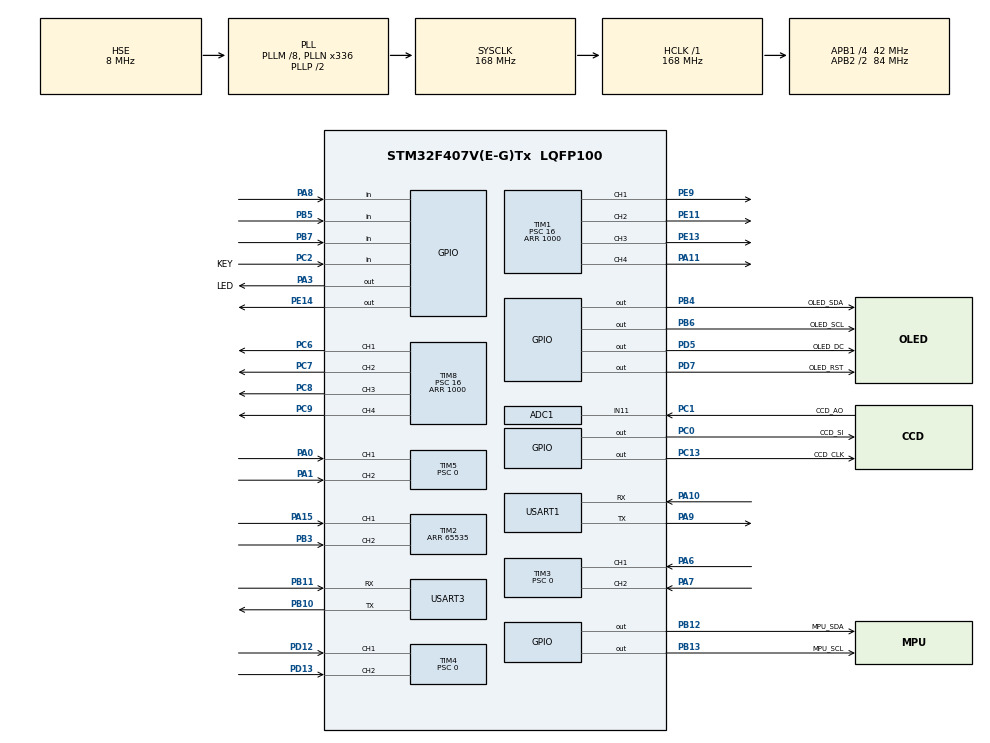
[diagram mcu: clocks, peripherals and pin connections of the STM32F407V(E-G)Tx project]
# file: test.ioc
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ADC1.AutoInjectedConv=DISABLE
ADC1.Channel-0\#ChannelRegularConversion=ADC_CHANNEL_11
ADC1.InjectedDiscontinuousConvMode=DISABLE
ADC1.NbrOfConversionFlag=1
ADC1.Rank-0\#ChannelRegularConversion=1
ADC1.SamplingTime-0\#ChannelRegularConversion=ADC_SAMPLETIME_3CYCLES
ADC1.master=1
FREERTOS.BinarySemaphores01=HandshakeSignalFirst;HandshakeSignalThird
FREERTOS.Tasks01=defaultTask,-3,256,StartDefaultTask,Default;WIFI,0,512,StartWIFI,Default;Start,3,256,StartTask,Default;Status,-1,256,StartStatus,Default;Run,-2,512,StartRun,Default;Signal,2,256,StartSignal,Default
FREERTOS.Timers01=PIDControl,CallbackControl,osTimerPeriodic,Default
FREERTOS.configMINIMAL_STACK_SIZE=256
FREERTOS.configTOTAL_HEAP_SIZE=50000
FREERTOS.configUSE_IDLE_HOOK=1
FREERTOS.configUSE_TIMERS=1
Mcu.Family=STM32F4
Mcu.Name=STM32F407V(E-G)Tx
Mcu.Package=LQFP100
NVIC.PriorityGroup=NVIC_PRIORITYGROUP_4
NVIC.TIM6_DAC_IRQn=true\:0\:0\:false\:false\:true\:false
NVIC.TimeBase=TIM6_DAC_IRQn
NVIC.TimeBaseIP=TIM6
NVIC.USART1_IRQn=true\:5\:0\:false\:false\:true\:true
NVIC.USART3_IRQn=true\:5\:0\:false\:false\:true\:true
PA0-WKUP.Signal=S_TIM5_CH1
PA1.Signal=S_TIM5_CH2
PA10.Mode=Asynchronous
PA10.Signal=USART1_RX
PA11.Signal=S_TIM1_CH4
PA13.Mode=Serial_Wire
PA13.Signal=SYS_JTMS-SWDIO
PA14.Mode=Serial_Wire
PA14.Signal=SYS_JTCK-SWCLK
PA15.Signal=S_TIM2_CH1_ETR
PA3.GPIO_Label=LED
PA3.Signal=GPIO_Output
PA6.Signal=S_TIM3_CH1
PA7.Signal=S_TIM3_CH2
PA8.Signal=GPIO_Input
PA9.Mode=Asynchronous
PA9.Signal=USART1_TX
PB10.Mode=Asynchronous
PB10.Signal=USART3_TX
PB11.Mode=Asynchronous
PB11.Signal=USART3_RX
PB12.GPIO_Label=MPU_SDA
PB12.Signal=GPIO_Output
PB13.GPIO_Label=MPU_SCL
PB13.Signal=GPIO_Output
PB3.Signal=S_TIM2_CH2
PB4.GPIO_Label=OLED_SDA
PB4.Signal=GPIO_Output
PB5.Signal=GPIO_Input
PB6.GPIO_Label=OLED_SCL
PB6.Signal=GPIO_Output
PB7.Signal=GPIO_Input
PC0.GPIO_Label=CCD_SI
PC0.Signal=GPIO_Output
PC1.GPIO_Label=CCD_AO
PC1.Signal=ADCx_IN11
PC13-ANTI_TAMP.GPIO_Label=CCD_CLK
PC13-ANTI_TAMP.Signal=GPIO_Output
PC2.GPIO_Label=KEY
PC2.GPIO_PuPd=GPIO_PULLUP
PC2.Signal=GPIO_Input
PC6.Signal=S_TIM8_CH1
PC7.Signal=S_TIM8_CH2
PC8.Signal=S_TIM8_CH3
PC9.Signal=S_TIM8_CH4
PD12.Signal=S_TIM4_CH1
PD13.Signal=S_TIM4_CH2
PD5.GPIO_Label=OLED_DC
PD5.Signal=GPIO_Output
PD7.GPIO_Label=OLED_RST
PD7.Signal=GPIO_Output
PE11.Signal=S_TIM1_CH2
PE13.Signal=S_TIM1_CH3
PE14.Signal=GPIO_Output
PE9.Signal=S_TIM1_CH1
PH0-OSC_IN.Mode=HSE-External-Oscillator
PH0-OSC_IN.Signal=RCC_OSC_IN
PH1-OSC_OUT.Mode=HSE-External-Oscillator
PH1-OSC_OUT.Signal=RCC_OSC_OUT
ProjectManager.HeapSize=0x200
ProjectManager.StackSize=0x400
ProjectManager.TargetToolchain=MDK-ARM V5
RCC.48MHZClocksFreq_Value=84000000
RCC.AHBFreq_Value=168000000
RCC.APB1CLKDivider=RCC_HCLK_DIV4
RCC.APB1Freq_Value=42000000
RCC.APB1TimFreq_Value=84000000
RCC.APB2CLKDivider=RCC_HCLK_DIV2
RCC.APB2Freq_Value=84000000
RCC.APB2TimFreq_Value=168000000
RCC.ClockTypeHCLK=RCC_CLOCKTYPE_HCLK
RCC.ClockTypePCLK1=RCC_CLOCKTYPE_PCLK1
RCC.ClockTypePCLK2=RCC_CLOCKTYPE_PCLK2
RCC.ClockTypeSysClk=RCC_CLOCKTYPE_SYSCLK
RCC.CortexFreq_Value=168000000
RCC.EnableExtClockForI2S=false
RCC.EnableHSE=true
RCC.EnableHSERTCDevisor=false
RCC.EnableLSE=false
RCC.EnableLSERTC=false
RCC.ExtClockEnable=false
RCC.HCLKFreq_Value=168000000
RCC.HSEState=RCC_HSE_ON
RCC.HSE_VALUE=8000000
RCC.HSIState=RCC_HSI_OFF
RCC.HSI_VALUE=16000000
RCC.I2SEnable=false
RCC.IWDGEnable=false
RCC.LSE_VALUE=32768
RCC.LSIState=RCC_LSI_OFF
RCC.MCO1OutPutEnable=false
RCC.MCO2OutPutEnable=false
RCC.OscillatorTypeHSE=RCC_OSCILLATORTYPE_HSE
RCC.PLLM=8
RCC.PLLN=336
RCC.PLLSource=RCC_PLLSOURCE_HSE
RCC.PLLSourceVirtual=RCC_PLLSOURCE_HSE
RCC.PLLState=RCC_PLL_ON
RCC.RNGEnable=false
RCC.RTCEnable=false
RCC.SDIOEnable=false
RCC.SYSCLKFreq_VALUE=168000000
RCC.SYSCLKSource=RCC_SYSCLKSOURCE_PLLCLK
RCC.USBFSEnable=false
RCC.USBHSEnable=false
RCC.VCOOutputFreq_Value=336000000
SH.ADCx_IN11.0=ADC1_IN11,IN11
SH.S_TIM1_CH1.0=TIM1_CH1,PWM Generation1 CH1
SH.S_TIM1_CH2.0=TIM1_CH2,PWM Generation2 CH2
SH.S_TIM1_CH3.0=TIM1_CH3,PWM Generation3 CH3
SH.S_TIM1_CH4.0=TIM1_CH4,PWM Generation4 CH4
SH.S_TIM2_CH1_ETR.0=TIM2_CH1,Encoder_Interface
SH.S_TIM2_CH2.0=TIM2_CH2,Encoder_Interface
SH.S_TIM3_CH1.0=TIM3_CH1,Encoder_Interface
SH.S_TIM3_CH2.0=TIM3_CH2,Encoder_Interface
SH.S_TIM4_CH1.0=TIM4_CH1,Encoder_Interface
SH.S_TIM4_CH2.0=TIM4_CH2,Encoder_Interface
SH.S_TIM5_CH1.0=TIM5_CH1,Encoder_Interface
SH.S_TIM5_CH2.0=TIM5_CH2,Encoder_Interface
SH.S_TIM8_CH1.0=TIM8_CH1,PWM Generation1 CH1
SH.S_TIM8_CH2.0=TIM8_CH2,PWM Generation2 CH2
SH.S_TIM8_CH3.0=TIM8_CH3,PWM Generation3 CH3
SH.S_TIM8_CH4.0=TIM8_CH4,PWM Generation4 CH4
TIM1.Channel-PWM\ Generation1\ CH1=TIM_CHANNEL_1
TIM1.Channel-PWM\ Generation2\ CH2=TIM_CHANNEL_2
TIM1.Channel-PWM\ Generation3\ CH3=TIM_CHANNEL_3
TIM1.Channel-PWM\ Generation4\ CH4=TIM_CHANNEL_4
TIM1.OCNIdleState_1=TIM_OCNIDLESTATE_RESET
TIM1.OCNIdleState_2=TIM_OCNIDLESTATE_RESET
TIM1.OCNIdleState_3=TIM_OCNIDLESTATE_RESET
TIM1.OCNIdleState_4=TIM_OCNIDLESTATE_RESET
TIM1.OCNPolarity_1=TIM_OCNPOLARITY_HIGH
TIM1.OCNPolarity_2=TIM_OCNPOLARITY_HIGH
TIM1.OCNPolarity_3=TIM_OCNPOLARITY_HIGH
TIM1.Period=1000
TIM1.Prescaler=16
TIM2.Period=65535
TIM3.EncoderMode=TIM_ENCODERMODE_TI12
TIM3.Period=65535
TIM3.Prescaler=0
TIM4.EncoderMode=TIM_ENCODERMODE_TI12
TIM4.Period=65535
TIM4.Prescaler=0
TIM5.EncoderMode=TIM_ENCODERMODE_TI12
TIM5.Period=65535
TIM5.Prescaler=0
TIM8.Channel-PWM\ Generation1\ CH1=TIM_CHANNEL_1
TIM8.Channel-PWM\ Generation2\ CH2=TIM_CHANNEL_2
TIM8.Channel-PWM\ Generation3\ CH3=TIM_CHANNEL_3
TIM8.Channel-PWM\ Generation4\ CH4=TIM_CHANNEL_4
TIM8.OCNIdleState_1=TIM_OCNIDLESTATE_RESET
TIM8.OCNIdleState_2=TIM_OCNIDLESTATE_RESET
TIM8.OCNIdleState_3=TIM_OCNIDLESTATE_RESET
TIM8.OCNIdleState_4=TIM_OCNIDLESTATE_RESET
TIM8.OCNPolarity_1=TIM_OCNPOLARITY_HIGH
TIM8.OCNPolarity_2=TIM_OCNPOLARITY_HIGH
TIM8.OCNPolarity_3=TIM_OCNPOLARITY_HIGH
TIM8.Period=1000
TIM8.Prescaler=16
USART1.HwFlowCtl-Asynchronous=UART_HWCONTROL_NONE
USART1.VirtualMode=VM_ASYNC
USART3.HwFlowCtl-Asynchronous=UART_HWCONTROL_NONE
USART3.VirtualMode=VM_ASYNC
VP_FREERTOS_VS_ENABLE.Mode=Enabled
VP_SYS_VS_tim6.Mode=TIM6
board=test

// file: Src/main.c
/**
  ******************************************************************************
  * File Name          : main.c
  * Description        : Main program body
  ******************************************************************************
  *
  * COPYRIGHT(c) 2016 STMicroelectronics
  *
  * Redistribution and use in source and binary forms, with or without modification,
  * are permitted provided that the following conditions are met:
  *   1. Redistributions of source code must retain the above copyright notice,
  *      this list of conditions and the following disclaimer.
  *   2. Redistributions in binary form must reproduce the above copyright notice,
  *      this list of conditions and the following disclaimer in the documentation
  *      and/or other materials provided with the distribution.
  *   3. Neither the name of STMicroelectronics nor the names of its contributors
  *      may be used to endorse or promote products derived from this software
  *      without specific prior written permission.
  *
  * THIS SOFTWARE IS PROVIDED BY THE COPYRIGHT HOLDERS AND CONTRIBUTORS "AS IS"
  * AND ANY EXPRESS OR IMPLIED WARRANTIES, INCLUDING, BUT NOT LIMITED TO, THE
  * IMPLIED WARRANTIES OF MERCHANTABILITY AND FITNESS FOR A PARTICULAR PURPOSE ARE
  * DISCLAIMED. IN NO EVENT SHALL THE COPYRIGHT HOLDER OR CONTRIBUTORS BE LIABLE
  * FOR ANY DIRECT, INDIRECT, INCIDENTAL, SPECIAL, EXEMPLARY, OR CONSEQUENTIAL
  * DAMAGES (INCLUDING, BUT NOT LIMITED TO, PROCUREMENT OF SUBSTITUTE GOODS OR
  * SERVICES; LOSS OF USE, DATA, OR PROFITS; OR BUSINESS INTERRUPTION) HOWEVER
  * CAUSED AND ON ANY THEORY OF LIABILITY, WHETHER IN CONTRACT, STRICT LIABILITY,
  * OR TORT (INCLUDING NEGLIGENCE OR OTHERWISE) ARISING IN ANY WAY OUT OF THE USE
  * OF THIS SOFTWARE, EVEN IF ADVISED OF THE POSSIBILITY OF SUCH DAMAGE.
  *
  ******************************************************************************
  */
#include "stm32f4xx_hal.h"
#include "cmsis_os.h"

/* USER CODE BEGIN Includes */
#include "BlueTooth.h"
#include "oled.h"
#include "mpu6050.h"
#include "inv_mpu.h"
#include "inv_mpu_dmp_motion_driver.h"
#include "ccd.h"
#include "Control.h"
#include "Motor.h"
#include "wifi.h"
#include "Encoder.h"
#include "pid.h"
#include <arm_math.h>
/* USER CODE END Includes */

ADC_HandleTypeDef hadc1;

TIM_HandleTypeDef htim1;
TIM_HandleTypeDef htim2;
TIM_HandleTypeDef htim3;
TIM_HandleTypeDef htim4;
TIM_HandleTypeDef htim5;
TIM_HandleTypeDef htim8;

UART_HandleTypeDef huart1;
UART_HandleTypeDef huart3;

osThreadId defaultTaskHandle;
osThreadId WIFIHandle;
osThreadId StartHandle;
osThreadId StatusHandle;
osThreadId RunHandle;
osThreadId SignalHandle;
osTimerId PIDControlHandle;
osSemaphoreId HandshakeSignalFirstHandle;
osSemaphoreId HandshakeSignalThirdHandle;

/* USER CODE BEGIN PV */
/* Private variables ---------------------------------------------------------*/
volatile  unsigned int OSIdleCtr;    /* 空闲计数器  */
unsigned int OSIdleCtrMax;             /* 一秒最大计数值    */
unsigned int OSIdleCtrRun;             /* 运行时一秒计数值  */
float     OSCPUUsage;               /* CPU占用率  */
float FreeHeapSpace;     //空闲内存空间

float pitch, roll, yaw;     //欧拉角
short aacx, aacy, aacz;     //加速度传感器原始数据
short gyrox, gyroy, gyroz;  //陀螺仪原始数据

uint8_t usart1_temp;        //USART1临时接收
uint8_t usart3_temp;        //USART3临时接收

uint8_t HandshakeSignalFirst = 0xf0;//与扫描单片机一次握手信号
uint8_t HandshakeSignalSecond = 0x01;//与扫描单片机二次握手信号
uint8_t HandshakeSignalThird = 0x0f;//与扫描单片机三次握手信号

uint8_t HandshakeSignalFirstSignal = 0;//与扫描单片机一次握手完成标志信号
uint8_t HandshakeSignalThirdSignal = 0;//与扫描单片机三次握手完成标志信号

uint8_t MotorFlag = 0;     //小车启动信号

int16_t MotorSpeed1;//右前编码器速度  正转负数，倒转正数
int16_t MotorSpeed2;//左后编码器速度  正转负数，倒转正数
int16_t MotorSpeed3;//左前编码器速度  正转正数，倒转负数
int16_t MotorSpeed4;//右后编码器速度  正转负数，倒转正数

PidTypeDef RFMotorPID;//右前轮PID
PidTypeDef LBMotorPID;//左后轮PID
PidTypeDef LFMotorPID;//左前轮PID
PidTypeDef RBMotorPID;//右后轮PID
PidTypeDef YawPID;    //角度PID

int32_t UpperSetSpeed = 20;//设定速度
float UpperSetYaw = 0.0; //设定角度
int32_t LeftForwardSpeed;//左前轮改变速度
int32_t RightForwardSpeed;//右前轮改变速度
uint8_t Judge[4] = {0}; //车库障碍判断
/* USER CODE END PV */

void SystemClock_Config(void);
void Error_Handler(void);
static void MX_GPIO_Init(void);
static void MX_TIM2_Init(void);
static void MX_TIM3_Init(void);
static void MX_TIM4_Init(void);
static void MX_TIM5_Init(void);
static void MX_USART1_UART_Init(void);
static void MX_TIM1_Init(void);
static void MX_TIM8_Init(void);
static void MX_USART3_UART_Init(void);
static void MX_ADC1_Init(void);
void StartDefaultTask(void const * argument);
void StartWIFI(void const * argument);
void StartTask(void const * argument);
void StartStatus(void const * argument);
void StartRun(void const * argument);
void StartSignal(void const * argument);
void CallbackControl(void const * argument);

void HAL_TIM_MspPostInit(TIM_HandleTypeDef *htim);

/* USER CODE BEGIN PFP */
/* Private function prototypes -----------------------------------------------*/

/* USER CODE END PFP */

/* USER CODE BEGIN 0 */
#include "stdio.h"
#ifdef __GNUC__
#define PUTCHAR_PROTOTYPE int __io_putchar(int ch)
#else
#define PUTCHAR_PROTOTYPE int fputc(int ch, FILE *f)
#endif
PUTCHAR_PROTOTYPE
{
    HAL_UART_Transmit(&huart1 , (uint8_t *)&ch, 1 , 0xffff);
    return ch;
}

/* USER CODE END 0 */

int main(void)
{

    /* MCU Configuration----------------------------------------------------------*/

    /* Reset of all peripherals, Initializes the Flash interface and the Systick. */
    HAL_Init();

    /* Configure the system clock */
    SystemClock_Config();

    /* Initialize all configured peripherals */
    MX_GPIO_Init();
    MX_TIM2_Init();
    MX_TIM3_Init();
    MX_TIM4_Init();
    MX_TIM5_Init();
    MX_USART1_UART_Init();
    MX_TIM1_Init();
    MX_TIM8_Init();
    MX_USART3_UART_Init();
    MX_ADC1_Init();

    /* USER CODE BEGIN 2 */
    OLED_Init();                    //初始化OLED
    MPU_Init();                 //初始化MPU6050

    while (mpu_dmp_init())
    {
        OLED_ShowString(4, 20, "MPU6050 Error", 16);
        OLED_Refresh_Gram();//更新显示到OLED
        HAL_Delay(200);
    }
    OLED_Clear();

    Encoder_init();
    Motor_init();
    PID_init();
    while (HAL_UART_Receive_IT(&huart1, &usart1_temp,
                               sizeof(usart1_temp)) != HAL_OK);//开启串口1中断
    while (HAL_UART_Receive_IT(&huart3, &usart3_temp,
                               sizeof(usart3_temp)) != HAL_OK);//开启串口3中断

    /* USER CODE END 2 */

    /* Create the semaphores(s) */
    /* definition and creation of HandshakeSignalFirst */
    osSemaphoreDef(HandshakeSignalFirst);
    HandshakeSignalFirstHandle = osSemaphoreCreate(osSemaphore(
                                     HandshakeSignalFirst), 1);

    /* definition and creation of HandshakeSignalThird */
    osSemaphoreDef(HandshakeSignalThird);
    HandshakeSignalThirdHandle = osSemaphoreCreate(osSemaphore(
                                     HandshakeSignalThird), 1);

    /* Create the timer(s) */
    /* definition and creation of PIDControl */
    osTimerDef(PIDControl, CallbackControl);
    PIDControlHandle = osTimerCreate(osTimer(PIDControl), osTimerPeriodic, NULL);

    /* Create the thread(s) */
    /* definition and creation of defaultTask */
    osThreadDef(defaultTask, StartDefaultTask, osPriorityIdle, 0, 256);
    defaultTaskHandle = osThreadCreate(osThread(defaultTask), NULL);

    /* definition and creation of WIFI */
    osThreadDef(WIFI, StartWIFI, osPriorityNormal, 0, 512);
    WIFIHandle = osThreadCreate(osThread(WIFI), NULL);

    /* definition and creation of Start */
    osThreadDef(Start, StartTask, osPriorityRealtime, 0, 256);
    StartHandle = osThreadCreate(osThread(Start), NULL);

    /* definition and creation of Status */
    osThreadDef(Status, StartStatus, osPriorityBelowNormal, 0, 256);
    StatusHandle = osThreadCreate(osThread(Status), NULL);

    /* definition and creation of Run */
    osThreadDef(Run, StartRun, osPriorityLow, 0, 512);
    RunHandle = osThreadCreate(osThread(Run), NULL);

    /* definition and creation of Signal */
    osThreadDef(Signal, StartSignal, osPriorityHigh, 0, 256);
    SignalHandle = osThreadCreate(osThread(Signal), NULL);

    /* Start scheduler */
    osKernelStart();

    /* We should never get here as control is now taken by the scheduler */

    /* Infinite loop */
    while (1)
    {

        /* USER CODE BEGIN 3 */
        printf("我不知道自己在找什么\r\n");
        printf("只觉得丢了很多\r\n");
        printf("二八二五六 二四二五七 二八二九三十一\r\n");
    }
    /* USER CODE END 3 */

}

/** System Clock Configuration
*/
void SystemClock_Config(void)
{

    RCC_OscInitTypeDef RCC_OscInitStruct;
    RCC_ClkInitTypeDef RCC_ClkInitStruct;

    __HAL_RCC_PWR_CLK_ENABLE();

    __HAL_PWR_VOLTAGESCALING_CONFIG(PWR_REGULATOR_VOLTAGE_SCALE1);

    RCC_OscInitStruct.OscillatorType = RCC_OSCILLATORTYPE_HSE;
    RCC_OscInitStruct.HSEState = RCC_HSE_ON;
    RCC_OscInitStruct.PLL.PLLState = RCC_PLL_ON;
    RCC_OscInitStruct.PLL.PLLSource = RCC_PLLSOURCE_HSE;
    RCC_OscInitStruct.PLL.PLLM = 8;
    RCC_OscInitStruct.PLL.PLLN = 336;
    RCC_OscInitStruct.PLL.PLLP = RCC_PLLP_DIV2;
    RCC_OscInitStruct.PLL.PLLQ = 4;
    if (HAL_RCC_OscConfig(&RCC_OscInitStruct) != HAL_OK)
    {
        Error_Handler();
    }

    RCC_ClkInitStruct.ClockType = RCC_CLOCKTYPE_HCLK | RCC_CLOCKTYPE_SYSCLK
                                  | RCC_CLOCKTYPE_PCLK1 | RCC_CLOCKTYPE_PCLK2;
    RCC_ClkInitStruct.SYSCLKSource = RCC_SYSCLKSOURCE_PLLCLK;
    RCC_ClkInitStruct.AHBCLKDivider = RCC_SYSCLK_DIV1;
    RCC_ClkInitStruct.APB1CLKDivider = RCC_HCLK_DIV4;
    RCC_ClkInitStruct.APB2CLKDivider = RCC_HCLK_DIV2;
    if (HAL_RCC_ClockConfig(&RCC_ClkInitStruct, FLASH_LATENCY_5) != HAL_OK)
    {
        Error_Handler();
    }

    HAL_SYSTICK_Config(HAL_RCC_GetHCLKFreq() / 1000);

    HAL_SYSTICK_CLKSourceConfig(SYSTICK_CLKSOURCE_HCLK);

    /* SysTick_IRQn interrupt configuration */
    HAL_NVIC_SetPriority(SysTick_IRQn, 15, 0);
}

/* ADC1 init function */
static void MX_ADC1_Init(void)
{

    ADC_ChannelConfTypeDef sConfig;

    /**Configure the global features of the ADC (Clock, Resolution, Data Alignment and number of conversion)
    */
    hadc1.Instance = ADC1;
    hadc1.Init.ClockPrescaler = ADC_CLOCK_SYNC_PCLK_DIV4;
    hadc1.Init.Resolution = ADC_RESOLUTION_12B;
    hadc1.Init.ScanConvMode = DISABLE;
    hadc1.Init.ContinuousConvMode = DISABLE;
    hadc1.Init.DiscontinuousConvMode = DISABLE;
    hadc1.Init.ExternalTrigConvEdge = ADC_EXTERNALTRIGCONVEDGE_NONE;
    hadc1.Init.DataAlign = ADC_DATAALIGN_RIGHT;
    hadc1.Init.NbrOfConversion = 1;
    hadc1.Init.DMAContinuousRequests = DISABLE;
    hadc1.Init.EOCSelection = ADC_EOC_SINGLE_CONV;
    if (HAL_ADC_Init(&hadc1) != HAL_OK)
    {
        Error_Handler();
    }

    /**Configure for the selected ADC regular channel its corresponding rank in the sequencer and its sample time.
    */
    sConfig.Channel = ADC_CHANNEL_11;
    sConfig.Rank = 1;
    sConfig.SamplingTime = ADC_SAMPLETIME_3CYCLES;
    if (HAL_ADC_ConfigChannel(&hadc1, &sConfig) != HAL_OK)
    {
        Error_Handler();
    }

}

/* TIM1 init function */
static void MX_TIM1_Init(void)
{

    TIM_MasterConfigTypeDef sMasterConfig;
    TIM_BreakDeadTimeConfigTypeDef sBreakDeadTimeConfig;
    TIM_OC_InitTypeDef sConfigOC;

    htim1.Instance = TIM1;
    htim1.Init.Prescaler = 16;
    htim1.Init.CounterMode = TIM_COUNTERMODE_UP;
    htim1.Init.Period = 1000;
    htim1.Init.ClockDivision = TIM_CLOCKDIVISION_DIV1;
    htim1.Init.RepetitionCounter = 0;
    if (HAL_TIM_PWM_Init(&htim1) != HAL_OK)
    {
        Error_Handler();
    }

    sMasterConfig.MasterOutputTrigger = TIM_TRGO_RESET;
    sMasterConfig.MasterSlaveMode = TIM_MASTERSLAVEMODE_DISABLE;
    if (HAL_TIMEx_MasterConfigSynchronization(&htim1, &sMasterConfig) != HAL_OK)
    {
        Error_Handler();
    }

    sBreakDeadTimeConfig.OffStateRunMode = TIM_OSSR_DISABLE;
    sBreakDeadTimeConfig.OffStateIDLEMode = TIM_OSSI_DISABLE;
    sBreakDeadTimeConfig.LockLevel = TIM_LOCKLEVEL_OFF;
    sBreakDeadTimeConfig.DeadTime = 0;
    sBreakDeadTimeConfig.BreakState = TIM_BREAK_DISABLE;
    sBreakDeadTimeConfig.BreakPolarity = TIM_BREAKPOLARITY_HIGH;
    sBreakDeadTimeConfig.AutomaticOutput = TIM_AUTOMATICOUTPUT_DISABLE;
    if (HAL_TIMEx_ConfigBreakDeadTime(&htim1, &sBreakDeadTimeConfig) != HAL_OK)
    {
        Error_Handler();
    }

    sConfigOC.OCMode = TIM_OCMODE_PWM1;
    sConfigOC.Pulse = 0;
    sConfigOC.OCPolarity = TIM_OCPOLARITY_HIGH;
    sConfigOC.OCNPolarity = TIM_OCNPOLARITY_HIGH;
    sConfigOC.OCFastMode = TIM_OCFAST_DISABLE;
    sConfigOC.OCIdleState = TIM_OCIDLESTATE_RESET;
    sConfigOC.OCNIdleState = TIM_OCNIDLESTATE_RESET;
    if (HAL_TIM_PWM_ConfigChannel(&htim1, &sConfigOC, TIM_CHANNEL_1) != HAL_OK)
    {
        Error_Handler();
    }

    if (HAL_TIM_PWM_ConfigChannel(&htim1, &sConfigOC, TIM_CHANNEL_2) != HAL_OK)
    {
        Error_Handler();
    }

    if (HAL_TIM_PWM_ConfigChannel(&htim1, &sConfigOC, TIM_CHANNEL_3) != HAL_OK)
    {
        Error_Handler();
    }

    if (HAL_TIM_PWM_ConfigChannel(&htim1, &sConfigOC, TIM_CHANNEL_4) != HAL_OK)
    {
        Error_Handler();
    }

    HAL_TIM_MspPostInit(&htim1);

}

/* TIM2 init function */
static void MX_TIM2_Init(void)
{

    TIM_Encoder_InitTypeDef sConfig;
    TIM_MasterConfigTypeDef sMasterConfig;

    htim2.Instance = TIM2;
    htim2.Init.Prescaler = 0;
    htim2.Init.CounterMode = TIM_COUNTERMODE_UP;
    htim2.Init.Period = 65535;
    htim2.Init.ClockDivision = TIM_CLOCKDIVISION_DIV1;
    sConfig.EncoderMode = TIM_ENCODERMODE_TI1;
    sConfig.IC1Polarity = TIM_ICPOLARITY_RISING;
    sConfig.IC1Selection = TIM_ICSELECTION_DIRECTTI;
    sConfig.IC1Prescaler = TIM_ICPSC_DIV1;
    sConfig.IC1Filter = 0;
    sConfig.IC2Polarity = TIM_ICPOLARITY_RISING;
    sConfig.IC2Selection = TIM_ICSELECTION_DIRECTTI;
    sConfig.IC2Prescaler = TIM_ICPSC_DIV1;
    sConfig.IC2Filter = 0;
    if (HAL_TIM_Encoder_Init(&htim2, &sConfig) != HAL_OK)
    {
        Error_Handler();
    }

    sMasterConfig.MasterOutputTrigger = TIM_TRGO_RESET;
    sMasterConfig.MasterSlaveMode = TIM_MASTERSLAVEMODE_DISABLE;
    if (HAL_TIMEx_MasterConfigSynchronization(&htim2, &sMasterConfig) != HAL_OK)
    {
        Error_Handler();
    }

}

/* TIM3 init function */
static void MX_TIM3_Init(void)
{

    TIM_Encoder_InitTypeDef sConfig;
    TIM_MasterConfigTypeDef sMasterConfig;

    htim3.Instance = TIM3;
    htim3.Init.Prescaler = 0;
    htim3.Init.CounterMode = TIM_COUNTERMODE_UP;
    htim3.Init.Period = 65535;
    htim3.Init.ClockDivision = TIM_CLOCKDIVISION_DIV1;
    sConfig.EncoderMode = TIM_ENCODERMODE_TI12;
    sConfig.IC1Polarity = TIM_ICPOLARITY_RISING;
    sConfig.IC1Selection = TIM_ICSELECTION_DIRECTTI;
    sConfig.IC1Prescaler = TIM_ICPSC_DIV1;
    sConfig.IC1Filter = 0;
    sConfig.IC2Polarity = TIM_ICPOLARITY_RISING;
    sConfig.IC2Selection = TIM_ICSELECTION_DIRECTTI;
    sConfig.IC2Prescaler = TIM_ICPSC_DIV1;
    sConfig.IC2Filter = 0;
    if (HAL_TIM_Encoder_Init(&htim3, &sConfig) != HAL_OK)
    {
        Error_Handler();
    }

    sMasterConfig.MasterOutputTrigger = TIM_TRGO_RESET;
    sMasterConfig.MasterSlaveMode = TIM_MASTERSLAVEMODE_DISABLE;
    if (HAL_TIMEx_MasterConfigSynchronization(&htim3, &sMasterConfig) != HAL_OK)
    {
        Error_Handler();
    }

}

/* TIM4 init function */
static void MX_TIM4_Init(void)
{

    TIM_Encoder_InitTypeDef sConfig;
    TIM_MasterConfigTypeDef sMasterConfig;

    htim4.Instance = TIM4;
    htim4.Init.Prescaler = 0;
    htim4.Init.CounterMode = TIM_COUNTERMODE_UP;
    htim4.Init.Period = 65535;
    htim4.Init.ClockDivision = TIM_CLOCKDIVISION_DIV1;
    sConfig.EncoderMode = TIM_ENCODERMODE_TI12;
    sConfig.IC1Polarity = TIM_ICPOLARITY_RISING;
    sConfig.IC1Selection = TIM_ICSELECTION_DIRECTTI;
    sConfig.IC1Prescaler = TIM_ICPSC_DIV1;
    sConfig.IC1Filter = 0;
    sConfig.IC2Polarity = TIM_ICPOLARITY_RISING;
    sConfig.IC2Selection = TIM_ICSELECTION_DIRECTTI;
    sConfig.IC2Prescaler = TIM_ICPSC_DIV1;
    sConfig.IC2Filter = 0;
    if (HAL_TIM_Encoder_Init(&htim4, &sConfig) != HAL_OK)
    {
        Error_Handler();
    }

    sMasterConfig.MasterOutputTrigger = TIM_TRGO_RESET;
    sMasterConfig.MasterSlaveMode = TIM_MASTERSLAVEMODE_DISABLE;
    if (HAL_TIMEx_MasterConfigSynchronization(&htim4, &sMasterConfig) != HAL_OK)
    {
        Error_Handler();
    }

}

/* TIM5 init function */
static void MX_TIM5_Init(void)
{

    TIM_Encoder_InitTypeDef sConfig;
    TIM_MasterConfigTypeDef sMasterConfig;

    htim5.Instance = TIM5;
    htim5.Init.Prescaler = 0;
    htim5.Init.CounterMode = TIM_COUNTERMODE_UP;
    htim5.Init.Period = 65535;
    htim5.Init.ClockDivision = TIM_CLOCKDIVISION_DIV1;
    sConfig.EncoderMode = TIM_ENCODERMODE_TI12;
    sConfig.IC1Polarity = TIM_ICPOLARITY_RISING;
    sConfig.IC1Selection = TIM_ICSELECTION_DIRECTTI;
    sConfig.IC1Prescaler = TIM_ICPSC_DIV1;
    sConfig.IC1Filter = 0;
    sConfig.IC2Polarity = TIM_ICPOLARITY_RISING;
    sConfig.IC2Selection = TIM_ICSELECTION_DIRECTTI;
    sConfig.IC2Prescaler = TIM_ICPSC_DIV1;
    sConfig.IC2Filter = 0;
    if (HAL_TIM_Encoder_Init(&htim5, &sConfig) != HAL_OK)
    {
        Error_Handler();
    }

    sMasterConfig.MasterOutputTrigger = TIM_TRGO_RESET;
    sMasterConfig.MasterSlaveMode = TIM_MASTERSLAVEMODE_DISABLE;
    if (HAL_TIMEx_MasterConfigSynchronization(&htim5, &sMasterConfig) != HAL_OK)
    {
        Error_Handler();
    }

}

/* TIM8 init function */
static void MX_TIM8_Init(void)
{

    TIM_MasterConfigTypeDef sMasterConfig;
    TIM_BreakDeadTimeConfigTypeDef sBreakDeadTimeConfig;
    TIM_OC_InitTypeDef sConfigOC;

    htim8.Instance = TIM8;
    htim8.Init.Prescaler = 16;
    htim8.Init.CounterMode = TIM_COUNTERMODE_UP;
    htim8.Init.Period = 1000;
    htim8.Init.ClockDivision = TIM_CLOCKDIVISION_DIV1;
    htim8.Init.RepetitionCounter = 0;
    if (HAL_TIM_PWM_Init(&htim8) != HAL_OK)
    {
        Error_Handler();
    }

    sMasterConfig.MasterOutputTrigger = TIM_TRGO_RESET;
    sMasterConfig.MasterSlaveMode = TIM_MASTERSLAVEMODE_DISABLE;
    if (HAL_TIMEx_MasterConfigSynchronization(&htim8, &sMasterConfig) != HAL_OK)
    {
        Error_Handler();
    }

    sBreakDeadTimeConfig.OffStateRunMode = TIM_OSSR_DISABLE;
    sBreakDeadTimeConfig.OffStateIDLEMode = TIM_OSSI_DISABLE;
    sBreakDeadTimeConfig.LockLevel = TIM_LOCKLEVEL_OFF;
    sBreakDeadTimeConfig.DeadTime = 0;
    sBreakDeadTimeConfig.BreakState = TIM_BREAK_DISABLE;
    sBreakDeadTimeConfig.BreakPolarity = TIM_BREAKPOLARITY_HIGH;
    sBreakDeadTimeConfig.AutomaticOutput = TIM_AUTOMATICOUTPUT_DISABLE;
    if (HAL_TIMEx_ConfigBreakDeadTime(&htim8, &sBreakDeadTimeConfig) != HAL_OK)
    {
        Error_Handler();
    }

    sConfigOC.OCMode = TIM_OCMODE_PWM1;
    sConfigOC.Pulse = 0;
    sConfigOC.OCPolarity = TIM_OCPOLARITY_HIGH;
    sConfigOC.OCNPolarity = TIM_OCNPOLARITY_HIGH;
    sConfigOC.OCFastMode = TIM_OCFAST_DISABLE;
    sConfigOC.OCIdleState = TIM_OCIDLESTATE_RESET;
    sConfigOC.OCNIdleState = TIM_OCNIDLESTATE_RESET;
    if (HAL_TIM_PWM_ConfigChannel(&htim8, &sConfigOC, TIM_CHANNEL_1) != HAL_OK)
    {
        Error_Handler();
    }

    if (HAL_TIM_PWM_ConfigChannel(&htim8, &sConfigOC, TIM_CHANNEL_2) != HAL_OK)
    {
        Error_Handler();
    }

    if (HAL_TIM_PWM_ConfigChannel(&htim8, &sConfigOC, TIM_CHANNEL_3) != HAL_OK)
    {
        Error_Handler();
    }

    if (HAL_TIM_PWM_ConfigChannel(&htim8, &sConfigOC, TIM_CHANNEL_4) != HAL_OK)
    {
        Error_Handler();
    }

    HAL_TIM_MspPostInit(&htim8);

}

/* USART1 init function */
static void MX_USART1_UART_Init(void)
{

    huart1.Instance = USART1;
    huart1.Init.BaudRate = 115200;
    huart1.Init.WordLength = UART_WORDLENGTH_8B;
    huart1.Init.StopBits = UART_STOPBITS_1;
    huart1.Init.Parity = UART_PARITY_NONE;
    huart1.Init.Mode = UART_MODE_TX_RX;
    huart1.Init.HwFlowCtl = UART_HWCONTROL_NONE;
    huart1.Init.OverSampling = UART_OVERSAMPLING_16;
    if (HAL_UART_Init(&huart1) != HAL_OK)
    {
        Error_Handler();
    }

}

/* USART3 init function */
static void MX_USART3_UART_Init(void)
{

    huart3.Instance = USART3;
    huart3.Init.BaudRate = 115200;
    huart3.Init.WordLength = UART_WORDLENGTH_8B;
    huart3.Init.StopBits = UART_STOPBITS_1;
    huart3.Init.Parity = UART_PARITY_NONE;
    huart3.Init.Mode = UART_MODE_TX_RX;
    huart3.Init.HwFlowCtl = UART_HWCONTROL_NONE;
    huart3.Init.OverSampling = UART_OVERSAMPLING_16;
    if (HAL_UART_Init(&huart3) != HAL_OK)
    {
        Error_Handler();
    }

}

/** Configure pins as
        * Analog
        * Input
        * Output
        * EVENT_OUT
        * EXTI
*/
static void MX_GPIO_Init(void)
{

    GPIO_InitTypeDef GPIO_InitStruct;

    /* GPIO Ports Clock Enable */
    __HAL_RCC_GPIOC_CLK_ENABLE();
    __HAL_RCC_GPIOH_CLK_ENABLE();
    __HAL_RCC_GPIOA_CLK_ENABLE();
    __HAL_RCC_GPIOE_CLK_ENABLE();
    __HAL_RCC_GPIOB_CLK_ENABLE();
    __HAL_RCC_GPIOD_CLK_ENABLE();

    /*Configure GPIO pin Output Level */
    HAL_GPIO_WritePin(GPIOC, CCD_CLK_Pin | CCD_SI_Pin, GPIO_PIN_RESET);

    /*Configure GPIO pin Output Level */
    HAL_GPIO_WritePin(LED_GPIO_Port, LED_Pin, GPIO_PIN_RESET);

    /*Configure GPIO pin Output Level */
    HAL_GPIO_WritePin(GPIOE, GPIO_PIN_14, GPIO_PIN_RESET);

    /*Configure GPIO pin Output Level */
    HAL_GPIO_WritePin(GPIOB,
                      MPU_SDA_Pin | MPU_SCL_Pin | OLED_SDA_Pin | OLED_SCL_Pin, GPIO_PIN_RESET);

    /*Configure GPIO pin Output Level */
    HAL_GPIO_WritePin(GPIOD, OLED_DC_Pin | OLED_RST_Pin, GPIO_PIN_RESET);

    /*Configure GPIO pins : CCD_CLK_Pin CCD_SI_Pin */
    GPIO_InitStruct.Pin = CCD_CLK_Pin | CCD_SI_Pin;
    GPIO_InitStruct.Mode = GPIO_MODE_OUTPUT_PP;
    GPIO_InitStruct.Pull = GPIO_NOPULL;
    GPIO_InitStruct.Speed = GPIO_SPEED_FREQ_LOW;
    HAL_GPIO_Init(GPIOC, &GPIO_InitStruct);

    /*Configure GPIO pin : KEY_Pin */
    GPIO_InitStruct.Pin = KEY_Pin;
    GPIO_InitStruct.Mode = GPIO_MODE_INPUT;
    GPIO_InitStruct.Pull = GPIO_PULLUP;
    HAL_GPIO_Init(KEY_GPIO_Port, &GPIO_InitStruct);

    /*Configure GPIO pin : LED_Pin */
    GPIO_InitStruct.Pin = LED_Pin;
    GPIO_InitStruct.Mode = GPIO_MODE_OUTPUT_PP;
    GPIO_InitStruct.Pull = GPIO_NOPULL;
    GPIO_InitStruct.Speed = GPIO_SPEED_FREQ_LOW;
    HAL_GPIO_Init(LED_GPIO_Port, &GPIO_InitStruct);

    /*Configure GPIO pin : PE14 */
    GPIO_InitStruct.Pin = GPIO_PIN_14;
    GPIO_InitStruct.Mode = GPIO_MODE_OUTPUT_PP;
    GPIO_InitStruct.Pull = GPIO_NOPULL;
    GPIO_InitStruct.Speed = GPIO_SPEED_FREQ_LOW;
    HAL_GPIO_Init(GPIOE, &GPIO_InitStruct);

    /*Configure GPIO pins : MPU_SDA_Pin MPU_SCL_Pin OLED_SDA_Pin OLED_SCL_Pin */
    GPIO_InitStruct.Pin = MPU_SDA_Pin | MPU_SCL_Pin | OLED_SDA_Pin | OLED_SCL_Pin;
    GPIO_InitStruct.Mode = GPIO_MODE_OUTPUT_PP;
    GPIO_InitStruct.Pull = GPIO_NOPULL;
    GPIO_InitStruct.Speed = GPIO_SPEED_FREQ_LOW;
    HAL_GPIO_Init(GPIOB, &GPIO_InitStruct);

    /*Configure GPIO pin : PA8 */
    GPIO_InitStruct.Pin = GPIO_PIN_8;
    GPIO_InitStruct.Mode = GPIO_MODE_INPUT;
    GPIO_InitStruct.Pull = GPIO_NOPULL;
    HAL_GPIO_Init(GPIOA, &GPIO_InitStruct);

    /*Configure GPIO pins : OLED_DC_Pin OLED_RST_Pin */
    GPIO_InitStruct.Pin = OLED_DC_Pin | OLED_RST_Pin;
    GPIO_InitStruct.Mode = GPIO_MODE_OUTPUT_PP;
    GPIO_InitStruct.Pull = GPIO_NOPULL;
    GPIO_InitStruct.Speed = GPIO_SPEED_FREQ_LOW;
    HAL_GPIO_Init(GPIOD, &GPIO_InitStruct);

    /*Configure GPIO pins : PB5 PB7 */
    GPIO_InitStruct.Pin = GPIO_PIN_5 | GPIO_PIN_7;
    GPIO_InitStruct.Mode = GPIO_MODE_INPUT;
    GPIO_InitStruct.Pull = GPIO_NOPULL;
    HAL_GPIO_Init(GPIOB, &GPIO_InitStruct);

}

/* StartDefaultTask function */
void StartDefaultTask(void const * argument)
{

    for (;;)
    {
        osDelay(1);
    }
}

/* StartWIFI function */
void StartWIFI(void const * argument)
{
    /* USER CODE BEGIN StartWIFI */
    /* Infinite loop */
    for (;;)
    {
        Send_Float_Data(OSCPUUsage, CPUStatus);
        Send_Float_Data(FreeHeapSpace, LeftRoom);
        Send_Float_Data(yaw, Yaw);
        osDelay(500);
        Send_Uint8_Data(MotorSpeed3, LSpeed);
        Send_Uint8_Data(MotorSpeed1, RSpeed);
        osDelay(500);
    }
    /* USER CODE END StartWIFI */
}

/* StartTask function */
void StartTask(void const * argument)
{
    /* USER CODE BEGIN StartTask */
    /* Infinite loop */
    for (;;)
    {
        osThreadSuspend(RunHandle);
        osThreadSuspend(WIFIHandle);
        osThreadSuspend(StatusHandle);
        osThreadSuspend(SignalHandle);

        taskENTER_CRITICAL();  //进入临界区
        OSIdleCtr = 0;
        taskEXIT_CRITICAL();  //退出临界区

        osDelay(1000);

        taskENTER_CRITICAL();
        OSIdleCtrMax = OSIdleCtr;//延时一秒后取得一秒运行次数最大值
        taskEXIT_CRITICAL();

        OSIdleCtrMax /= 100;  //方便算百分率
        if (OSIdleCtrMax == 0)
        {
            OSCPUUsage = 0;
        }

        //被挂起任务的恢复
        //osThreadResume(SignalHandle);
        osThreadResume(RunHandle);
        osThreadResume(WIFIHandle);
        osThreadResume(StatusHandle);
        osTimerStart(PIDControlHandle, 10);

        osThreadTerminate( NULL);    //任务删除

        printf("不知不觉不问不痛不痒多少的时光\r\n");
        printf("不确定的夜晚小巷泪悄悄流淌\r\n");

        osDelay(1);
    }
    /* USER CODE END StartTask */
}

/* StartStatus function */
void StartStatus(void const * argument)
{
    /* USER CODE BEGIN StartStatus */
    /* Infinite loop */
    for (;;)
    {
        taskENTER_CRITICAL();
        FreeHeapSpace = xPortGetFreeHeapSize() / 1024; //bytes转Kbytes
        OSIdleCtrRun =
            OSIdleCtr;                /*获得上一秒运行数 */
        OSIdleCtr    =
            0;                      /* 下一秒清零 */
        taskEXIT_CRITICAL();
        OSCPUUsage   = (100 - OSIdleCtrRun / (float) OSIdleCtrMax) ;
        OSCPUUsage = ABS(OSCPUUsage); //取绝对值，防止意外产生

        osDelay(1000);       /* 1s统计一次   */
    }
    /* USER CODE END StartStatus */
}

/* StartRun function */
void StartRun(void const * argument)
{
    /* USER CODE BEGIN StartRun */
    uint8_t  temp;
    Stop();
    OLED_ShowString(0, 10, "Bluetooth Error", 16);
    OLED_Refresh_Gram();//更新显示到OLED
		HAL_GPIO_WritePin(LED_GPIO_Port, LED_Pin, GPIO_PIN_SET);//关灯
    /*握手协议
    扫描单片机发送HandshakeSignalFirst至小车，
      小车接收到这个信号则发送HandshakeSignalSecond至扫描单片机
    扫描单片机发送HandshakeSignalThird至小车，小车收到就开始下一步
    */
//  while(osSemaphoreWait(HandshakeSignalFirstHandle, 0xff)!=osOK);
//  while(osSemaphoreWait(HandshakeSignalThirdHandle, 0xff)!=osOK)
//  {
//          HAL_UART_Transmit(&huart1 , &HandshakeSignalSecond, 1, 0xff);
//              osDelay(10);
//  }

    OLED_Clear();

    OLED_ShowString(0, 10, "Ready", 24);
    OLED_Refresh_Gram();//更新显示到OLED

    while (!MotorFlag)
    {
        if (HAL_GPIO_ReadPin(KEY_GPIO_Port, KEY_Pin) == GPIO_PIN_RESET)//按下
        {
            MotorFlag = 1;
        }
    }

    /* Infinite loop */
    for (;;)
    {
        if (MotorFlag)
        {
            //出库
            for (temp = 0; temp < 80; temp++)
            {
                UpperSpeedControl(-20);
                osDelay(10);
            }
            //转90度  车屁股向右
            for (temp = 0; temp < 120; temp++)
            {
                GyrateRight();
                osDelay(10);
            }
            //一二没有障碍
//            if (Judge[2] && Judge[3])
//            {
//							Send_Uint8_Data(0x12,JUDGE);
////倒车走一段
//                for (temp = 0; temp < 80; temp++)
//                {
//                    UpperSpeedControl(-20);
//                    osDelay(10);
//                }
////右拐入库
//                for (temp = 0; temp < 120; temp++)
//                {
//                    GyrateRight();
//                    osDelay(10);
//                }
////暴力右拐  进侧位车库
//                for (temp = 0; temp < 120; temp++)
//                {
//                    GyrateRight();
//                    osDelay(10);
//                }
//回去
                {

                }
//            }
#if 0
						//一三没有障碍
            else if (Judge[1] && Judge[3])
            {
							Send_Uint8_Data(0x13,JUDGE);
                //倒车走一段
                for (temp = 0; temp < 80; temp++)
                {
                    UpperSpeedControl(-20);
                    osDelay(10);
                }
//右拐入库
                for (temp = 0; temp < 120; temp++)
                {
                    GyrateRight();
                    osDelay(10);
                }
                //出库
                for (temp = 0; temp < 80; temp++)
                {
                    UpperSpeedControl(20);
                    osDelay(10);
                }
                //车屁股校正
                for (temp = 0; temp < 80; temp++)
                {
                    GyrateRight();
                    osDelay(10);
                }
//停进第三个车库
                for (temp = 0; temp < 80; temp++)
                {
                    GyrateRight();
                    osDelay(10);
                }
//回去
                {

                }
            }
            //二四没有障碍
            else if (Judge[0] && Judge[2])
            {
							Send_Uint8_Data(0x24,JUDGE);
//倒车走一段  先进四
                for (temp = 0; temp < 80; temp++)
                {
                    UpperSpeedControl(-20);
                    osDelay(10);
                }
//右拐入库
                for (temp = 0; temp < 120; temp++)
                {
                    GyrateRight();
                    osDelay(10);
                }
	//停进二 先向前走一段
	                for (temp = 0; temp < 80; temp++)
                {
                    UpperSpeedControl(20);
                    osDelay(10);
                }
//然后右转强行进
	                for (temp = 0; temp < 120; temp++)
                {
                    GyrateRight();
                    osDelay(10);
                }
//回去
{

}
            }
            //三四没有障碍
            else if (Judge[0] && Judge[1])
            {
							Send_Uint8_Data(0x34,JUDGE);
//倒车走一段  先进四
                for (temp = 0; temp < 80; temp++)
                {
                    UpperSpeedControl(-20);
                    osDelay(10);
                }
//右拐入库
                for (temp = 0; temp < 120; temp++)
                {
                    GyrateRight();
                    osDelay(10);
                }
	//停进三 先向前走一段
	                for (temp = 0; temp < 80; temp++)
                {
                    UpperSpeedControl(20);
                    osDelay(10);
                }
//然后左转强行进
	                for (temp = 0; temp < 120; temp++)
                {
                    GyrateLeft();
                    osDelay(10);
                }
//回去
								{

								}
            }
            #endif
						Stop();
            MotorFlag = 0;
						HAL_GPIO_WritePin(LED_GPIO_Port, LED_Pin, GPIO_PIN_SET);//开灯
						Send_Uint8_Data(0xff,OK);
        }
        osDelay(1);
    }

    /* USER CODE END StartRun */
}

/* StartSignal function */
void StartSignal(void const * argument)
{
    /* USER CODE BEGIN StartSignal */
    uint8_t temp[2] = {0};
    osSemaphoreWait(HandshakeSignalFirstHandle, 0xff);
    osSemaphoreWait(HandshakeSignalThirdHandle, 0xff);
    osThreadResume(RunHandle);
    /* Infinite loop */
    for (;;)
    {

        if (HandshakeSignalFirstSignal == 1)
        {
            osSemaphoreRelease(HandshakeSignalFirstHandle);
            temp[0] = 1;
        }
        if (HandshakeSignalThirdSignal == 1)
        {
            osSemaphoreRelease(HandshakeSignalThirdHandle);
            temp[1] = 1;
        }
        if (temp[0] && temp[1])
        {
            osThreadTerminate( NULL);    //任务删除
            printf("我他妈就是一个傻叉");
        }
        osDelay(10);
    }
    /* USER CODE END StartSignal */
}

/* CallbackControl function */
void CallbackControl(void const * argument)
{
    /* USER CODE BEGIN CallbackControl */
    MotorSpeed1 = GetEncoderValue(htim2);
    MotorSpeed2 = GetEncoderValue(htim3);
    MotorSpeed3 = GetEncoderValue(htim4);
    MotorSpeed4 = GetEncoderValue(htim5);

    if (mpu_dmp_get_data(&pitch, &roll, &yaw) == 0)
    {
        MPU_Get_Accelerometer(&aacx, &aacy, &aacz); //得到加速度传感器数据
        MPU_Get_Gyroscope(&gyrox, &gyroy, &gyroz);  //得到陀螺仪数据
        myOLED_Decimals(40, 40, yaw);
        OLED_Refresh_Gram();//更新显示到OLED

    }
//    if (MotorFlag==1)
//    {
//        Pid_Control(yaw,  UpperSetYaw, UpperSetSpeed);
//    }
//      else if(MotorFlag==2)
//      {
//              UpperSpeedControl(UpperSetSpeed);
//      }
//    else
//    {
//        Stop();
//    }
    /* USER CODE END CallbackControl */
}

void HAL_TIM_PeriodElapsedCallback(TIM_HandleTypeDef *htim)
{
    if (htim->Instance == TIM6)
    {
        HAL_IncTick();
    }
}

void Error_Handler(void)
{
    while (1)
    {
    }
}

/************************ (C) COPYRIGHT STMicroelectronics *****END OF FILE****/

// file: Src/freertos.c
/**
  ******************************************************************************
  * File Name          : freertos.c
  * Description        : Code for freertos applications
  ******************************************************************************
  *
  * COPYRIGHT(c) 2016 STMicroelectronics
  *
  * Redistribution and use in source and binary forms, with or without modification,
  * are permitted provided that the following conditions are met:
  *   1. Redistributions of source code must retain the above copyright notice,
  *      this list of conditions and the following disclaimer.
  *   2. Redistributions in binary form must reproduce the above copyright notice,
  *      this list of conditions and the following disclaimer in the documentation
  *      and/or other materials provided with the distribution.
  *   3. Neither the name of STMicroelectronics nor the names of its contributors
  *      may be used to endorse or promote products derived from this software
  *      without specific prior written permission.
  *
  * THIS SOFTWARE IS PROVIDED BY THE COPYRIGHT HOLDERS AND CONTRIBUTORS "AS IS"
  * AND ANY EXPRESS OR IMPLIED WARRANTIES, INCLUDING, BUT NOT LIMITED TO, THE
  * IMPLIED WARRANTIES OF MERCHANTABILITY AND FITNESS FOR A PARTICULAR PURPOSE ARE
  * DISCLAIMED. IN NO EVENT SHALL THE COPYRIGHT HOLDER OR CONTRIBUTORS BE LIABLE
  * FOR ANY DIRECT, INDIRECT, INCIDENTAL, SPECIAL, EXEMPLARY, OR CONSEQUENTIAL
  * DAMAGES (INCLUDING, BUT NOT LIMITED TO, PROCUREMENT OF SUBSTITUTE GOODS OR
  * SERVICES; LOSS OF USE, DATA, OR PROFITS; OR BUSINESS INTERRUPTION) HOWEVER
  * CAUSED AND ON ANY THEORY OF LIABILITY, WHETHER IN CONTRACT, STRICT LIABILITY,
  * OR TORT (INCLUDING NEGLIGENCE OR OTHERWISE) ARISING IN ANY WAY OUT OF THE USE
  * OF THIS SOFTWARE, EVEN IF ADVISED OF THE POSSIBILITY OF SUCH DAMAGE.
  *
  ******************************************************************************
  */

#include "FreeRTOS.h"
#include "task.h"

/* USER CODE BEGIN Variables */
extern volatile  unsigned int OSIdleCtr;    /* 空闲计数器  */
/* USER CODE END Variables */

/* Hook prototypes */
void vApplicationIdleHook(void);

/* USER CODE BEGIN 2 */
void vApplicationIdleHook( void )
{
    /* vApplicationIdleHook() will only be called if configUSE_IDLE_HOOK is set
    to 1 in FreeRTOSConfig.h. It will be called on each iteration of the idle
    task. It is essential that code added to this hook function never attempts
    to block in any way (for example, call xQueueReceive() with a block time
    specified, or call vTaskDelay()). If the application makes use of the
    vTaskDelete() API function (as this demo application does) then it is also
    important that vApplicationIdleHook() is permitted to return to its calling
    function, because it is the responsibility of the idle task to clean up
    memory allocated by the kernel to any task that has since been deleted. */
    taskENTER_CRITICAL(); //关中断
    OSIdleCtr++;//空闲计数器加一
    taskEXIT_CRITICAL();                     //开中断
}
/* USER CODE END 2 */

/************************ (C) COPYRIGHT STMicroelectronics *****END OF FILE****/
